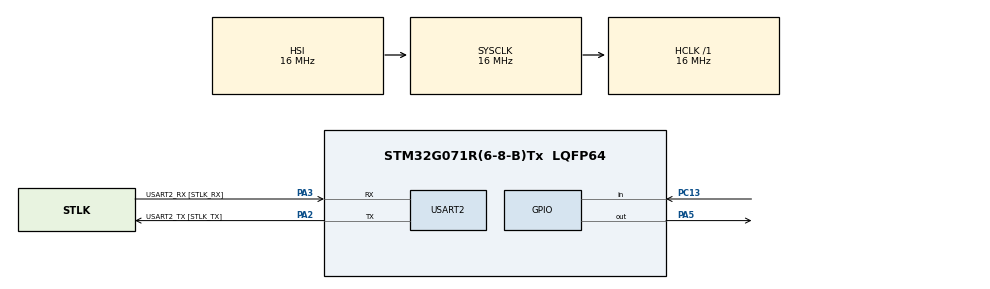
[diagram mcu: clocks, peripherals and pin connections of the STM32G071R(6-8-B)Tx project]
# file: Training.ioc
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Mcu.Family=STM32G0
Mcu.Name=STM32G071R(6-8-B)Tx
Mcu.Package=LQFP64
PA13.GPIO_Label=TMS
PA13.Mode=Serial_Wire
PA13.Signal=SYS_SWDIO
PA14-BOOT0.GPIO_Label=TCK
PA14-BOOT0.Mode=Serial_Wire
PA14-BOOT0.Signal=SYS_SWCLK
PA2.GPIO_Label=USART2_TX [STLK_TX]
PA2.GPIO_PuPd=GPIO_PULLUP
PA2.Mode=Asynchronous
PA2.Signal=USART2_TX
PA3.GPIO_Label=USART2_RX [STLK_RX]
PA3.GPIO_PuPd=GPIO_PULLUP
PA3.Mode=Asynchronous
PA3.Signal=USART2_RX
PA5.Signal=GPIO_Output
PC13.Signal=GPIO_Input
PC14-OSC32_IN\ (PC14).Mode=LSE-External-Oscillator
PC14-OSC32_IN\ (PC14).Signal=RCC_OSC32_IN
PC15-OSC32_OUT\ (PC15).Mode=LSE-External-Oscillator
PC15-OSC32_OUT\ (PC15).Signal=RCC_OSC32_OUT
PF0-OSC_IN\ (PF0).GPIO_Label=MCO
PF0-OSC_IN\ (PF0).Mode=HSE-External-Clock-Source
PF0-OSC_IN\ (PF0).Signal=RCC_OSC_IN
ProjectManager.HeapSize=0x200
ProjectManager.StackSize=0x400
ProjectManager.TargetToolchain=STM32CubeIDE
RCC.AHBFreq_Value=16000000
RCC.CortexFreq_Value=16000000
RCC.EXTERNAL_CLOCK_VALUE=12288000
RCC.HCLKFreq_Value=16000000
RCC.HSE_VALUE=8000000
RCC.HSI_VALUE=16000000
RCC.SYSCLKFreq_VALUE=16000000
RCC.VCOOutputFreq_Value=128000000
USART2.VirtualMode-Asynchronous=VM_ASYNC
VP_SYS_VS_DBSignals.Mode=DisableDeadBatterySignals
board=NUCLEO-G071RB

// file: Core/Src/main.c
/* USER CODE BEGIN Header */
/**
  ******************************************************************************
  * @file           : main.c
  * @brief          : Main program body
  ******************************************************************************
  * @attention
  *
  * Copyright (c) 2022 STMicroelectronics.
  * All rights reserved.
  *
  * This software is licensed under terms that can be found in the LICENSE file
  * in the root directory of this software component.
  * If no LICENSE file comes with this software, it is provided AS-IS.
  *
  ******************************************************************************
  */
/* USER CODE END Header */
#include "main.h"

/* USER CODE BEGIN PM */

#define PIN_RESET (0)
#define PIN_SET (1)
#define MN (10)
/* USER CODE END PM */

 UART_HandleTypeDef huart2;

/* USER CODE BEGIN PV */

uint8_t array[MN];
GPIO_PinState buttom;

/* USER CODE END PV */

void SystemClock_Config(void);
static void MX_GPIO_Init(void);
static void MX_USART2_UART_Init(void);
/* USER CODE BEGIN PFP */

GPIO_PinState Debouncer();

/* USER CODE END PFP */

int main(void)
{

  /* MCU Configuration--------------------------------------------------------*/

  /* Reset of all peripherals, Initializes the Flash interface and the Systick. */
  HAL_Init();

  /* Configure the system clock */
  SystemClock_Config();

  /* Initialize all configured peripherals */
  MX_GPIO_Init();
  MX_USART2_UART_Init();

  /* Infinite loop */
  while (1)
  {
	 Debouncer();
  }
}

void SystemClock_Config(void)
{
  RCC_OscInitTypeDef RCC_OscInitStruct = {0};
  RCC_ClkInitTypeDef RCC_ClkInitStruct = {0};

  /** Configure the main internal regulator output voltage
  */
  HAL_PWREx_ControlVoltageScaling(PWR_REGULATOR_VOLTAGE_SCALE1);

  /** Initializes the RCC Oscillators according to the specified parameters
  * in the RCC_OscInitTypeDef structure.
  */
  RCC_OscInitStruct.OscillatorType = RCC_OSCILLATORTYPE_HSI;
  RCC_OscInitStruct.HSIState = RCC_HSI_ON;
  RCC_OscInitStruct.HSIDiv = RCC_HSI_DIV1;
  RCC_OscInitStruct.HSICalibrationValue = RCC_HSICALIBRATION_DEFAULT;
  RCC_OscInitStruct.PLL.PLLState = RCC_PLL_NONE;
  if (HAL_RCC_OscConfig(&RCC_OscInitStruct) != HAL_OK)
  {
    Error_Handler();
  }

  /** Initializes the CPU, AHB and APB buses clocks
  */
  RCC_ClkInitStruct.ClockType = RCC_CLOCKTYPE_HCLK|RCC_CLOCKTYPE_SYSCLK
                              |RCC_CLOCKTYPE_PCLK1;
  RCC_ClkInitStruct.SYSCLKSource = RCC_SYSCLKSOURCE_HSI;
  RCC_ClkInitStruct.AHBCLKDivider = RCC_SYSCLK_DIV1;
  RCC_ClkInitStruct.APB1CLKDivider = RCC_HCLK_DIV1;

  if (HAL_RCC_ClockConfig(&RCC_ClkInitStruct, FLASH_LATENCY_0) != HAL_OK)
  {
    Error_Handler();
  }
}

static void MX_USART2_UART_Init(void)
{

  huart2.Instance = USART2;
  huart2.Init.BaudRate = 115200;
  huart2.Init.WordLength = UART_WORDLENGTH_8B;
  huart2.Init.StopBits = UART_STOPBITS_1;
  huart2.Init.Parity = UART_PARITY_NONE;
  huart2.Init.Mode = UART_MODE_TX_RX;
  huart2.Init.HwFlowCtl = UART_HWCONTROL_NONE;
  huart2.Init.OverSampling = UART_OVERSAMPLING_16;
  huart2.Init.OneBitSampling = UART_ONE_BIT_SAMPLE_DISABLE;
  huart2.Init.ClockPrescaler = UART_PRESCALER_DIV1;
  huart2.AdvancedInit.AdvFeatureInit = UART_ADVFEATURE_NO_INIT;
  if (HAL_UART_Init(&huart2) != HAL_OK)
  {
    Error_Handler();
  }
  if (HAL_UARTEx_SetTxFifoThreshold(&huart2, UART_TXFIFO_THRESHOLD_1_8) != HAL_OK)
  {
    Error_Handler();
  }
  if (HAL_UARTEx_SetRxFifoThreshold(&huart2, UART_RXFIFO_THRESHOLD_1_8) != HAL_OK)
  {
    Error_Handler();
  }
  if (HAL_UARTEx_DisableFifoMode(&huart2) != HAL_OK)
  {
    Error_Handler();
  }

}

static void MX_GPIO_Init(void)
{
  GPIO_InitTypeDef GPIO_InitStruct = {0};

  /* GPIO Ports Clock Enable */
  __HAL_RCC_GPIOC_CLK_ENABLE();
  __HAL_RCC_GPIOF_CLK_ENABLE();
  __HAL_RCC_GPIOA_CLK_ENABLE();

  /*Configure GPIO pin Output Level */
  HAL_GPIO_WritePin(GPIOA, GPIO_PIN_5, GPIO_PIN_RESET);

  /*Configure GPIO pin : PC13 */
  GPIO_InitStruct.Pin = GPIO_PIN_13;
  GPIO_InitStruct.Mode = GPIO_MODE_INPUT;
  GPIO_InitStruct.Pull = GPIO_NOPULL;
  HAL_GPIO_Init(GPIOC, &GPIO_InitStruct);

  /*Configure GPIO pin : PA5 */
  GPIO_InitStruct.Pin = GPIO_PIN_5;
  GPIO_InitStruct.Mode = GPIO_MODE_OUTPUT_PP;
  GPIO_InitStruct.Pull = GPIO_NOPULL;
  GPIO_InitStruct.Speed = GPIO_SPEED_FREQ_LOW;
  HAL_GPIO_Init(GPIOA, &GPIO_InitStruct);

}

/* USER CODE BEGIN 4 */
GPIO_PinState Debouncer()
{

static uint8_t i = 0;
float sum = 0.0;

if (HAL_GPIO_ReadPin(GPIOC, GPIO_PIN_13) <= PIN_RESET)
{
	array[i] = 1;
}
else
{
	array[i] = 0;
}

for (uint8_t k=0;k<MN;k++)
{
	sum += array[k];
}

if (i >= (MN-1))
{
	i = 0;
}
else
	{
	i++;
	}

if ((sum / MN) >= 0.5)
	{
		buttom = 1;
	}
	else
	{
		buttom = 0;
	}
HAL_Delay(100);
return (buttom);

}
/* USER CODE END 4 */

void Error_Handler(void)
{
  __disable_irq();
  while (1)
  {
  }
}
